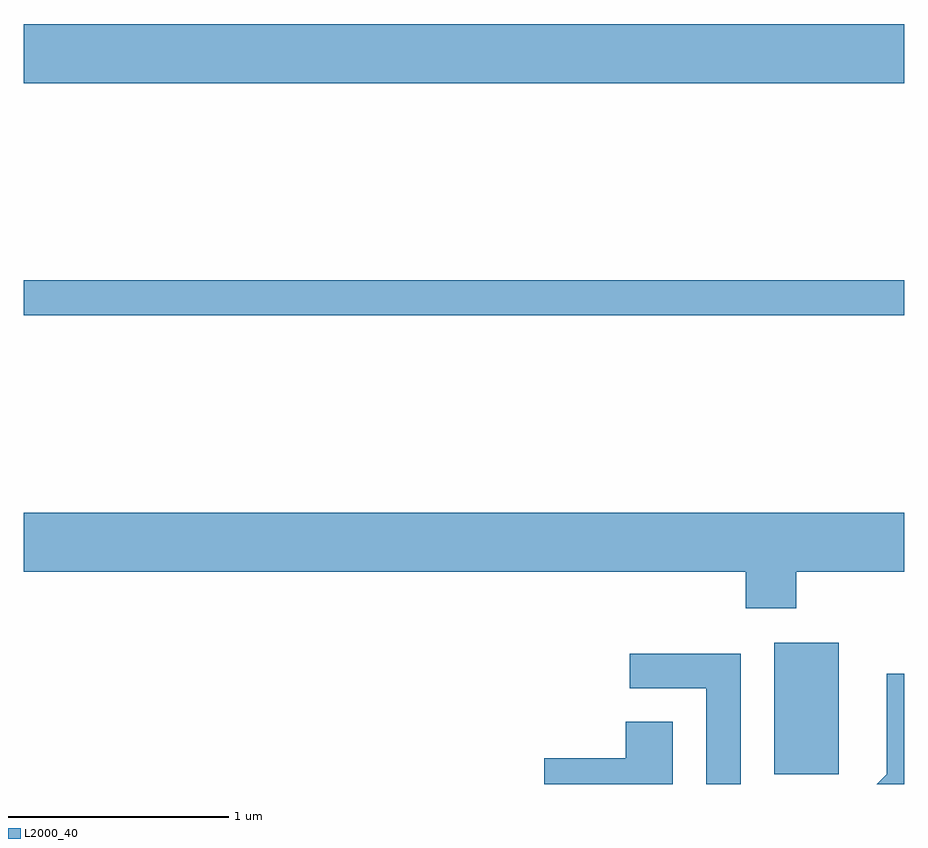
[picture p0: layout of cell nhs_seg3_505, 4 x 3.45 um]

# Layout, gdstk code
import gdstk
lib = gdstk.Library(unit=1e-6, precision=1e-09)
def R(c, l, rs):  # rectangles x0, y0, x1, y1
    for r in rs: c.add(gdstk.rectangle(r[:2], r[2:], *l))
def P(c, l, *ps):  # polygons
    for p in ps: c.add(gdstk.Polygon(p, *l))
L2000_40 = (2000, 40)

nhs_seg3_505 = lib.new_cell('nhs_seg3_505')
R(nhs_seg3_505, L2000_40, [(203.021,1173.936,203.314,1174.534), (199.611,1176.021,203.611,1176.179), (199.611,1177.076,203.611,1177.344)])
P(nhs_seg3_505, L2000_40, [(203.119,1174.856),(203.611,1174.856),(203.611,1175.124),(199.611,1175.124),(199.611,1174.856),(202.891,1174.856),(202.891,1174.691),(203.119,1174.691)],
  [(202.869,1174.484),(202.363,1174.484),(202.363,1174.326),(202.711,1174.326),(202.711,1173.892),(202.869,1173.892)],
  [(203.611,1174.393),(203.531,1174.393),(203.531,1173.937),(203.486,1173.892),(203.611,1173.892)],
  [(202.559,1174.174),(202.346,1174.174),(202.346,1174.009),(201.976,1174.009),(201.976,1173.892),(202.559,1173.892)])

lib.write_gds('nhs_seg3_505.gds')
